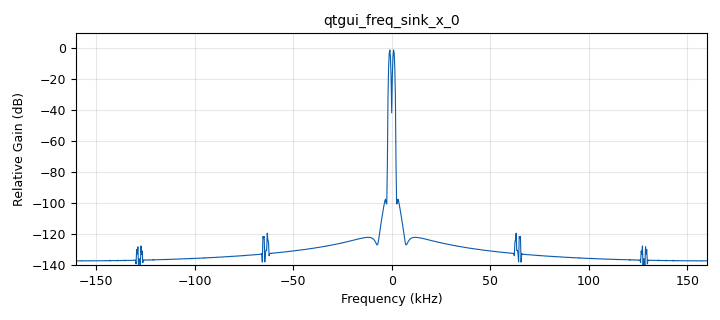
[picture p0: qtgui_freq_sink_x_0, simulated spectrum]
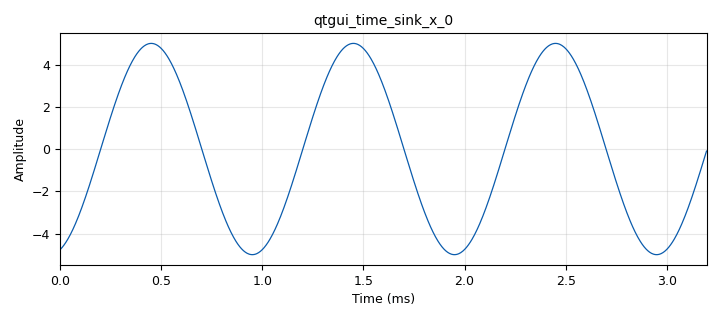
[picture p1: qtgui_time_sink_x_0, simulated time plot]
options:
  parameters:
    author: Barrios-Tirado
    category: '[Labcomu_J1A_G4]'
    copyright: Uis
    generate_options: qt_gui
    id: Potencia
    output_language: python
    title: Potencia
  states: {}

blocks:
- name: A
  id: variable_qtgui_range
  parameters:
    start: '0'
    step: '1'
    stop: '100'
    value: '5'
  states: {}
- name: samp_rate
  id: variable
  parameters:
    value: '320000'
  states: {}
- name: CalculoPotencia_0
  id: CalculoPotencia
  parameters:
    l_vect: '1024'
  states: {}
- name: analog_sig_source_x_0
  id: analog_sig_source_x
  parameters:
    amp: A
    freq: '1000'
    offset: '0'
    phase: '0'
    samp_rate: samp_rate
    type: float
    waveform: analog.GR_SIN_WAVE
  states: {}
- name: qtgui_freq_sink_x_0
  id: qtgui_freq_sink_x
  parameters:
    bw: samp_rate
    fc: '0'
    fftsize: '1024'
    type: float
  states: {}
- name: qtgui_time_sink_x_0
  id: qtgui_time_sink_x
  parameters:
    autoscale: 'True'
    grid: 'True'
    size: '1024'
    srate: samp_rate
    type: float
  states: {}

connections:
- [analog_sig_source_x_0, '0', CalculoPotencia_0, '0']
- [analog_sig_source_x_0, '0', qtgui_freq_sink_x_0, '0']
- [analog_sig_source_x_0, '0', qtgui_time_sink_x_0, '0']

metadata:
  file_format: 1
